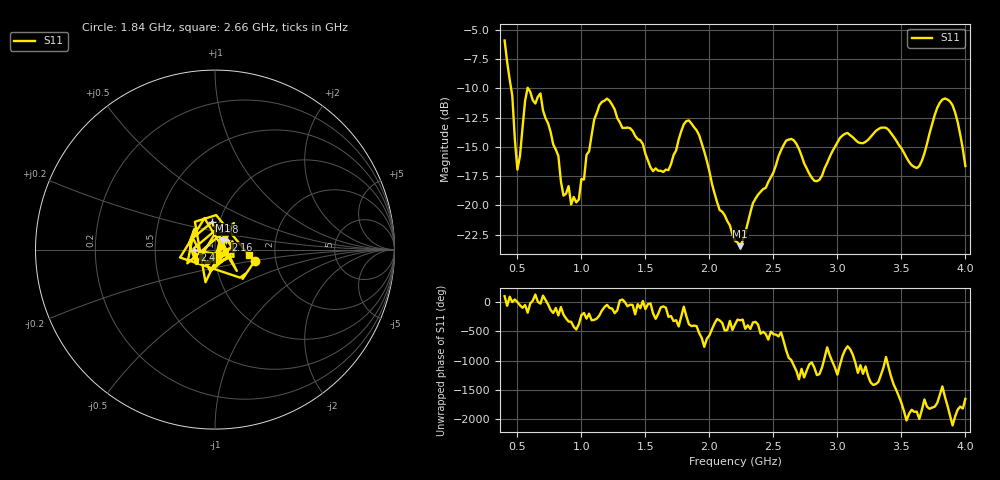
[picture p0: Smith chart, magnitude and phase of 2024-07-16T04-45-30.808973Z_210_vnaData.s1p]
!Created with skrf (http://scikit-rf.org).
# Hz S RI R 50.0
!freq ReS11 ImS11
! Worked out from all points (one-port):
!   181 points, 400 MHz to 4 GHz, reference 50 ohm
!   lowest |S11| = -23.5 dB at 2.24 GHz (marker M1), VSWR 1.14, Z = 54 + j5.73 ohm
!   |S11| at or under -10 dB: 450.9 MHz to 578.8 MHz (127.9 MHz wide, 24.9 % of centre); 584 MHz to end of sweep
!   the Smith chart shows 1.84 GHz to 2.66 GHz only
!   S11 on the Smith chart (normalised r, x): 1.84 GHz: 1.55, -0.21; 1.98 GHz: 0.93, +0.29; 2.16 GHz: 1.12, +0.13; 2.4 GHz: 0.79, -0.01; 2.66 GHz: 1.46, -0.09
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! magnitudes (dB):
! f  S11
! 400 MHz  -5.9
! 460 MHz  -10.6
! 500 MHz  -16.9
! 580 MHz  -9.9
! 680 MHz  -10.4
! 820 MHz  -15.8
! 860 MHz  -19.2
! 980 MHz  -19.5
! 1.16 GHz  -11.1
! 1.3 GHz  -12.9
! 1.56 GHz  -17.1
! 1.68 GHz  -17.0
! 1.76 GHz  -14.4
! 1.84 GHz  -12.7
! 1.98 GHz  -16.2
! 2.16 GHz  -21.7
! 2.2 GHz  -23.0
! 2.24 GHz  -23.5
! 2.4 GHz  -18.8
! 2.66 GHz  -14.4
! 2.84 GHz  -17.9
! 3.1 GHz  -14.0
! 3.38 GHz  -13.4
! 3.56 GHz  -16.3
! 3.64 GHz  -16.6
! 3.84 GHz  -10.9
! 3.92 GHz  -12.1
! 4 GHz  -16.6
